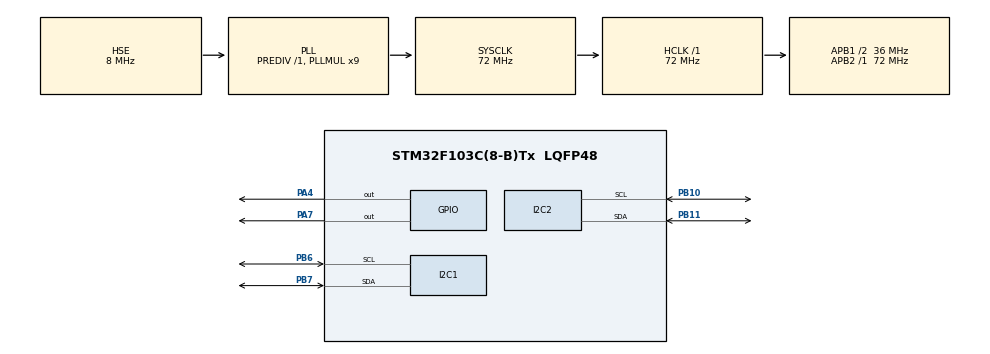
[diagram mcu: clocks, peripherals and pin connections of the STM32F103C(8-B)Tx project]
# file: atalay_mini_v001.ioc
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FREERTOS.Tasks01=BMP180,24,128,BMP180Start,Default,NULL,Dynamic,NULL,NULL;MPU9250andADXL3,40,128,IMUsStart,Default,NULL,Dynamic,NULL,NULL
I2C1.I2C_Mode=I2C_Fast
I2C2.I2C_Mode=I2C_Fast
Mcu.Family=STM32F1
Mcu.Name=STM32F103C(8-B)Tx
Mcu.Package=LQFP48
NVIC.PriorityGroup=NVIC_PRIORITYGROUP_4
NVIC.TIM1_UP_IRQn=true\:0\:0\:false\:false\:true\:false\:false\:true
NVIC.TimeBase=TIM1_UP_IRQn
NVIC.TimeBaseIP=TIM1
PA13.Mode=Serial_Wire
PA13.Signal=SYS_JTMS-SWDIO
PA14.Mode=Serial_Wire
PA14.Signal=SYS_JTCK-SWCLK
PA4.Signal=GPIO_Output
PA7.Signal=GPIO_Output
PB10.Mode=I2C
PB10.Signal=I2C2_SCL
PB11.Mode=I2C
PB11.Signal=I2C2_SDA
PB6.Mode=I2C
PB6.Signal=I2C1_SCL
PB7.Mode=I2C
PB7.Signal=I2C1_SDA
PC14-OSC32_IN.Mode=LSE-External-Oscillator
PC14-OSC32_IN.Signal=RCC_OSC32_IN
PC15-OSC32_OUT.Mode=LSE-External-Oscillator
PC15-OSC32_OUT.Signal=RCC_OSC32_OUT
PD0-OSC_IN.Mode=HSE-External-Oscillator
PD0-OSC_IN.Signal=RCC_OSC_IN
PD1-OSC_OUT.Mode=HSE-External-Oscillator
PD1-OSC_OUT.Signal=RCC_OSC_OUT
ProjectManager.HeapSize=0x200
ProjectManager.StackSize=0x400
ProjectManager.TargetToolchain=STM32CubeIDE
RCC.AHBFreq_Value=72000000
RCC.APB1CLKDivider=RCC_HCLK_DIV2
RCC.APB1Freq_Value=36000000
RCC.APB1TimFreq_Value=72000000
RCC.APB2Freq_Value=72000000
RCC.APB2TimFreq_Value=72000000
RCC.HCLKFreq_Value=72000000
RCC.PLLMUL=RCC_PLL_MUL9
RCC.PLLSourceVirtual=RCC_PLLSOURCE_HSE
RCC.SYSCLKFreq_VALUE=72000000
RCC.SYSCLKSource=RCC_SYSCLKSOURCE_PLLCLK
RCC.USBFreq_Value=72000000
VP_FREERTOS_VS_CMSIS_V2.Mode=CMSIS_V2
VP_SYS_VS_tim1.Mode=TIM1
board=custom

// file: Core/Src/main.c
/* USER CODE BEGIN Header */
/**
  ******************************************************************************
  * @file           : main.c
  * @brief          : Main program body
  ******************************************************************************
  * @attention
  *
  * <h2><center>&copy; Copyright (c) 2021 STMicroelectronics.
  * All rights reserved.</center></h2>
  *
  * This software component is licensed by ST under BSD 3-Clause license,
  * the "License"; You may not use this file except in compliance with the
  * License. You may obtain a copy of the License at:
  *                        opensource.org/licenses/BSD-3-Clause
  *
  ******************************************************************************
  */
/* USER CODE END Header */

#include "main.h"
#include "cmsis_os.h"

/* USER CODE BEGIN Includes */
float mpu9250_roll, mpu9250_pitch,ay,ax,az,gx,gy,gz;
#include "MPU9250_I2C.h"
/* USER CODE END Includes */

I2C_HandleTypeDef hi2c1;
I2C_HandleTypeDef hi2c2;

/* Definitions for BMP180 */
osThreadId_t BMP180Handle;
const osThreadAttr_t BMP180_attributes = {
  .name = "BMP180",
  .priority = (osPriority_t) osPriorityNormal,
  .stack_size = 128 * 4
};
/* Definitions for MPU9250andADXL3 */
osThreadId_t MPU9250andADXL3Handle;
const osThreadAttr_t MPU9250andADXL3_attributes = {
  .name = "MPU9250andADXL3",
  .priority = (osPriority_t) osPriorityHigh,
  .stack_size = 128 * 4
};

void SystemClock_Config(void);
static void MX_GPIO_Init(void);
static void MX_I2C1_Init(void);
static void MX_I2C2_Init(void);
void BMP180Start(void *argument);
void IMUsStart(void *argument);

int main(void)
{

  /* MCU Configuration--------------------------------------------------------*/

  /* Reset of all peripherals, Initializes the Flash interface and the Systick. */
   HAL_Init();

  /* Configure the system clock */
  SystemClock_Config();

  /* Initialize all configured peripherals */
  MX_GPIO_Init();
  MX_I2C1_Init();
  MX_I2C2_Init();

  /* Init scheduler */
  osKernelInitialize();

  /* Create the thread(s) */
  /* creation of BMP180 */
  BMP180Handle = osThreadNew(BMP180Start, NULL, &BMP180_attributes);

  /* creation of MPU9250andADXL3 */
  MPU9250andADXL3Handle = osThreadNew(IMUsStart, NULL, &MPU9250andADXL3_attributes);

  /* Start scheduler */
  osKernelStart();

  /* We should never get here as control is now taken by the scheduler */
  /* Infinite loop */
  while (1)
  {

  }
}

void SystemClock_Config(void)
{
  RCC_OscInitTypeDef RCC_OscInitStruct = {0};
  RCC_ClkInitTypeDef RCC_ClkInitStruct = {0};

  /** Initializes the CPU, AHB and APB busses clocks
  */
  RCC_OscInitStruct.OscillatorType = RCC_OSCILLATORTYPE_HSE;
  RCC_OscInitStruct.HSEState = RCC_HSE_ON;
  RCC_OscInitStruct.HSEPredivValue = RCC_HSE_PREDIV_DIV1;
  RCC_OscInitStruct.HSIState = RCC_HSI_ON;
  RCC_OscInitStruct.PLL.PLLState = RCC_PLL_ON;
  RCC_OscInitStruct.PLL.PLLSource = RCC_PLLSOURCE_HSE;
  RCC_OscInitStruct.PLL.PLLMUL = RCC_PLL_MUL9;
  if (HAL_RCC_OscConfig(&RCC_OscInitStruct) != HAL_OK)
  {
    Error_Handler();
  }
  /** Initializes the CPU, AHB and APB busses clocks
  */
  RCC_ClkInitStruct.ClockType = RCC_CLOCKTYPE_HCLK|RCC_CLOCKTYPE_SYSCLK
                              |RCC_CLOCKTYPE_PCLK1|RCC_CLOCKTYPE_PCLK2;
  RCC_ClkInitStruct.SYSCLKSource = RCC_SYSCLKSOURCE_PLLCLK;
  RCC_ClkInitStruct.AHBCLKDivider = RCC_SYSCLK_DIV1;
  RCC_ClkInitStruct.APB1CLKDivider = RCC_HCLK_DIV2;
  RCC_ClkInitStruct.APB2CLKDivider = RCC_HCLK_DIV1;

  if (HAL_RCC_ClockConfig(&RCC_ClkInitStruct, FLASH_LATENCY_2) != HAL_OK)
  {
    Error_Handler();
  }
}

static void MX_I2C1_Init(void)
{

  hi2c1.Instance = I2C1;
  hi2c1.Init.ClockSpeed = 400000;
  hi2c1.Init.DutyCycle = I2C_DUTYCYCLE_2;
  hi2c1.Init.OwnAddress1 = 0;
  hi2c1.Init.AddressingMode = I2C_ADDRESSINGMODE_7BIT;
  hi2c1.Init.DualAddressMode = I2C_DUALADDRESS_DISABLE;
  hi2c1.Init.OwnAddress2 = 0;
  hi2c1.Init.GeneralCallMode = I2C_GENERALCALL_DISABLE;
  hi2c1.Init.NoStretchMode = I2C_NOSTRETCH_DISABLE;
  if (HAL_I2C_Init(&hi2c1) != HAL_OK)
  {
    Error_Handler();
  }

}

static void MX_I2C2_Init(void)
{

  hi2c2.Instance = I2C2;
  hi2c2.Init.ClockSpeed = 400000;
  hi2c2.Init.DutyCycle = I2C_DUTYCYCLE_2;
  hi2c2.Init.OwnAddress1 = 0;
  hi2c2.Init.AddressingMode = I2C_ADDRESSINGMODE_7BIT;
  hi2c2.Init.DualAddressMode = I2C_DUALADDRESS_DISABLE;
  hi2c2.Init.OwnAddress2 = 0;
  hi2c2.Init.GeneralCallMode = I2C_GENERALCALL_DISABLE;
  hi2c2.Init.NoStretchMode = I2C_NOSTRETCH_DISABLE;
  if (HAL_I2C_Init(&hi2c2) != HAL_OK)
  {
    Error_Handler();
  }

}

static void MX_GPIO_Init(void)
{
  GPIO_InitTypeDef GPIO_InitStruct = {0};

  /* GPIO Ports Clock Enable */
  __HAL_RCC_GPIOC_CLK_ENABLE();
  __HAL_RCC_GPIOD_CLK_ENABLE();
  __HAL_RCC_GPIOA_CLK_ENABLE();
  __HAL_RCC_GPIOB_CLK_ENABLE();

  /*Configure GPIO pin Output Level */
  HAL_GPIO_WritePin(GPIOA, GPIO_PIN_4|GPIO_PIN_7, GPIO_PIN_RESET);

  /*Configure GPIO pins : PA4 PA7 */
  GPIO_InitStruct.Pin = GPIO_PIN_4|GPIO_PIN_7;
  GPIO_InitStruct.Mode = GPIO_MODE_OUTPUT_PP;
  GPIO_InitStruct.Pull = GPIO_NOPULL;
  GPIO_InitStruct.Speed = GPIO_SPEED_FREQ_LOW;
  HAL_GPIO_Init(GPIOA, &GPIO_InitStruct);

}

void BMP180Start(void *argument)
{
  for(;;)
  {
    osDelay(1);
  }
}

void IMUsStart(void *argument)
{
  /* USER CODE BEGIN IMUsStart */
	struct mpuSensorData sensorData;
		char outdata[100];
		struct DPL{
		int16_t h1;
		int16_t h2;
		struct mpuSensorData Data;
		};
		union{
		struct DPL Data;
		uint8_t buffer[24];
		}Packet;
		Packet.Data.h1 = 0x03;
		Packet.Data.h2 = 0x03;

  /* Infinite loop */
  for(;;)
  {
	  mpuReadSensor(&sensorData);
	  Packet.Data.Data=sensorData;
	  mpu9250_roll=sensorData.roll;
	  mpu9250_pitch=sensorData.pitch;
	  ay=sensorData.ay;
	  az=sensorData.az;
	  ax=sensorData.ax;
	  gx=sensorData.gx;
	  gy=sensorData.gy;
	  gz=sensorData.gz;

	  HAL_GPIO_WritePin(GPIOA, GPIO_PIN_7, GPIO_PIN_SET);
	  if (mpu9250_roll>0 && ay<8000 && ay>-8000)
	  {
	  HAL_GPIO_WritePin(GPIOA, GPIO_PIN_7, GPIO_PIN_RESET);
	  HAL_GPIO_WritePin(GPIOA, GPIO_PIN_4, GPIO_PIN_SET);
	  HAL_Delay(100);
	  HAL_GPIO_WritePin(GPIOA, GPIO_PIN_4, GPIO_PIN_RESET);
	  HAL_Delay(100);
	  }

    osDelay(1);
  }
  /* USER CODE END IMUsStart */
}

 /**
  * @brief  Period elapsed callback in non blocking mode
  * @note   This function is called  when TIM1 interrupt took place, inside
  * HAL_TIM_IRQHandler(). It makes a direct call to HAL_IncTick() to increment
  * a global variable "uwTick" used as application time base.
  * @param  htim : TIM handle
  * @retval None
  */
void HAL_TIM_PeriodElapsedCallback(TIM_HandleTypeDef *htim)
{
  if (htim->Instance == TIM1) {
    HAL_IncTick();
  }
}

void Error_Handler(void)
{
}

/************************ (C) COPYRIGHT STMicroelectronics *****END OF FILE****/
